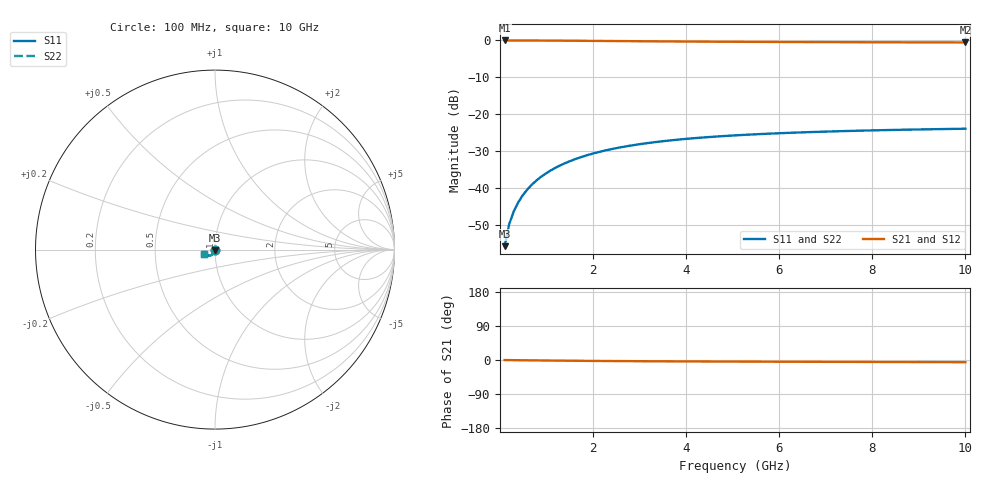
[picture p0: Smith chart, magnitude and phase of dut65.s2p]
! Touchstone file exported from HFSS 2024.1.0
!  File:  C:/UserFiles/LocalFiles/RDL_TSV_Batchsim/temp_TSV1_65_1778749621.aedt
!  Generated:  05:23:11 PM May 14, 2026
!  Design:  TSV1
!  Project:  temp_TSV1_65_1778749621
!  Setup:  Setup1
!  Solution:  Sweep
! Variables:
!  dtsv = 11.45um
!  hbump = 3um
!  htsv = 91.23um
!  lrdl = 252.1521522um
!  p = 40
!  p1 = 41.81um
!  t = 500um
!  trdl = 3um
!  wrdl = 24.89489489um
# GHz S MA R 50.000000
! Terminal data exported
! Port[1] = TSV22_T1
! Port[2] = TSV22_T2
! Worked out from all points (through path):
!   100 points, 100 MHz to 10 GHz, reference 50 ohm
!   highest |S21| = 0.00 dB at 100 MHz (marker M1); lowest = -0.5 dB at 10 GHz (marker M2)
!   lowest |S11| = -55.6 dB at 100 MHz (marker M3), VSWR 1.00, Z = 50 - j0.165 ohm
!   |S11| at or under -10 dB: start of sweep to end of sweep
!   |S22| runs from -55.6 to -23.9 dB; largest |S21 - S12| = 7.2e-15
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0.1  0.001653 -87.1  0.9998 -0.1  0.9998 -0.1  0.001653 -87.1
! Gamma 0 0 0 0
! Port Impedance 50 0 50 0
0.2  0.003301 -90.6  0.9997 -0.3  0.9997 -0.3  0.003301 -90.6
0.3  0.00495 -92.7  0.9994 -0.4  0.9994 -0.4  0.00495 -92.7
0.4  0.006595 -94.5  0.9991 -0.6  0.9991 -0.6  0.006595 -94.5
0.5  0.00823 -96.2  0.9987 -0.7  0.9987 -0.7  0.00823 -96.2
0.6  0.009851 -97.8  0.9983 -0.8  0.9983 -0.8  0.009851 -97.8
0.7  0.01145 -99.4  0.9977 -1.0  0.9977 -1.0  0.01145 -99.4
0.8  0.01303 -100.9  0.9971 -1.1  0.9971 -1.1  0.01303 -100.9
0.9  0.01459 -102.4  0.9965 -1.2  0.9965 -1.2  0.01459 -102.4
1.1  0.01762 -105.3  0.995 -1.5  0.995 -1.5  0.01762 -105.3
1.4  0.02192 -109.4  0.9924 -1.8  0.9924 -1.8  0.02192 -109.4
1.6  0.02462 -112.0  0.9905 -2.0  0.9905 -2.0  0.02462 -112.0
1.8  0.02717 -114.5  0.9885 -2.2  0.9885 -2.2  0.02717 -114.5
2.1  0.03073 -118.1  0.9854 -2.5  0.9854 -2.5  0.03073 -118.1
2.5  0.03498 -122.4  0.9813 -2.8  0.9813 -2.8  0.03498 -122.4
2.9  0.0387 -126.3  0.9772 -3.1  0.9772 -3.1  0.0387 -126.3
3.4  0.0427 -130.7  0.9724 -3.4  0.9724 -3.4  0.0427 -130.7
4.2  0.04785 -136.6  0.9656 -3.8  0.9656 -3.8  0.04785 -136.6
5.1  0.05226 -142.0  0.9592 -4.2  0.9592 -4.2  0.05226 -142.0
6.7  0.05775 -149.5  0.9506 -4.7  0.9506 -4.7  0.05775 -149.5
8.4  0.06157 -155.4  0.9442 -5.3  0.9442 -5.3  0.06157 -155.4
10  0.06404 -159.8  0.94 -5.8  0.94 -5.8  0.06404 -159.8
